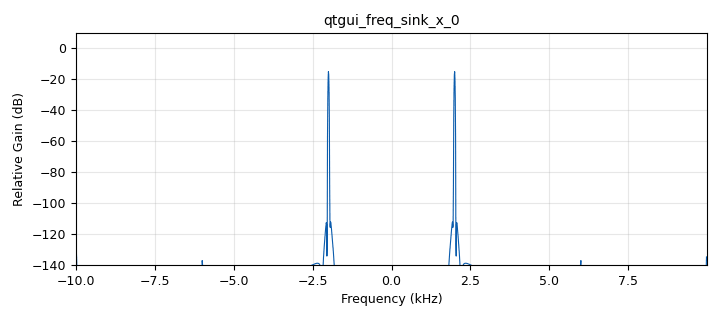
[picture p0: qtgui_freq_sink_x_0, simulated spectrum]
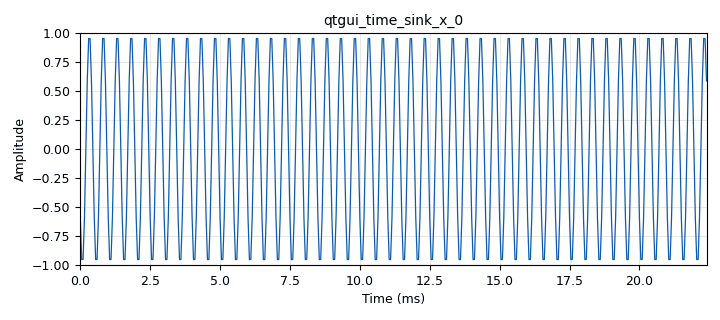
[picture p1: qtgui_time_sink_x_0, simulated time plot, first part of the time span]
options:
  parameters:
    author: Grupo_4_Caballero
    generate_options: qt_gui
    id: Frecuencia_muestreo
    output_language: python
    title: Frecuencia_de_Muestreo
  states: {}

blocks:
- name: freq
  id: variable_qtgui_range
  parameters:
    label: Frequency
    start: 1e3
    step: 1e3
    stop: 4e4
    value: '2000'
  states: {}
- name: samp_rate
  id: variable
  parameters:
    value: '32000'
  states: {state: disabled}
- name: samp_rate
  id: variable_qtgui_range
  parameters:
    label: Samp_rate
    start: 1e3
    step: 1e3
    stop: 400e4
    value: '20000'
  states: {}
- name: analog_sig_source_x_0
  id: analog_sig_source_x
  parameters:
    amp: '1'
    freq: freq
    offset: '0'
    phase: '0'
    samp_rate: samp_rate
    type: float
    waveform: analog.GR_SIN_WAVE
  states: {}
- name: blocks_throttle_0
  id: blocks_throttle
  parameters:
    samples_per_second: samp_rate
    type: float
  states: {}
- name: qtgui_freq_sink_x_0
  id: qtgui_freq_sink_x
  parameters:
    bw: samp_rate
    fc: '0'
    fftsize: 1024*2
    type: float
  states: {}
- name: qtgui_time_sink_x_0
  id: qtgui_time_sink_x
  parameters:
    size: '1024'
    srate: samp_rate
    type: float
  states: {}

connections:
- [analog_sig_source_x_0, '0', blocks_throttle_0, '0']
- [blocks_throttle_0, '0', qtgui_freq_sink_x_0, '0']
- [blocks_throttle_0, '0', qtgui_time_sink_x_0, '0']

metadata:
  file_format: 1
